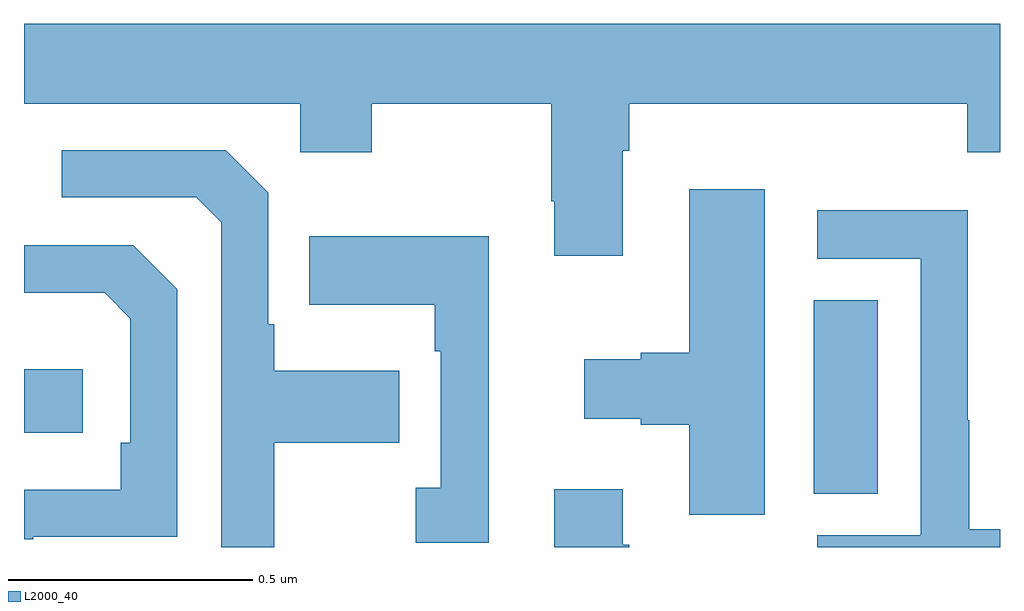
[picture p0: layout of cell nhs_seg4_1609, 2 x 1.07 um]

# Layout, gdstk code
import gdstk
lib = gdstk.Library(unit=1e-6, precision=1e-09)
def R(c, l, rs):  # rectangles x0, y0, x1, y1
    for r in rs: c.add(gdstk.rectangle(r[:2], r[2:], *l))
def P(c, l, *ps):  # polygons
    for p in ps: c.add(gdstk.Polygon(p, *l))
L2000_40 = (2000, 40)

nhs_seg4_1609 = lib.new_cell('nhs_seg4_1609')
R(nhs_seg4_1609, L2000_40, [(131.618,808.009,131.749,808.406), (130,808.134,130.12,808.264)])
P(nhs_seg4_1609, L2000_40, [(131.227,808.712),(131.24,808.712),(131.24,808.808),(131.933,808.808),(131.933,808.709),(132,808.709),(132,808.972),(130,808.972),(130,808.808),(130.566,808.808),(130.566,808.709),(130.713,808.709),(130.713,808.808),(131.08,808.808),(131.08,808.609),(131.087,808.609),(131.087,808.497),(131.227,808.497)],
  [(130.513,808.114),(130.769,808.114),(130.769,808.261),(130.513,808.261),(130.513,808.357),(130.5,808.357),(130.5,808.626),(130.413,808.713),(130.077,808.713),(130.077,808.617),(130.353,808.617),(130.404,808.566),(130.404,807.9),(130.513,807.9)],
  [(131.518,808.633),(131.363,808.633),(131.363,808.298),(131.264,808.298),(131.264,808.285),(131.148,808.285),(131.148,808.163),(131.264,808.163),(131.264,808.151),(131.363,808.151),(131.363,807.966),(131.518,807.966)],
  [(132,807.937),(131.937,807.937),(131.937,808.16),(131.934,808.16),(131.934,808.59),(131.625,808.59),(131.625,808.491),(131.838,808.491),(131.838,807.924),(131.625,807.924),(131.625,807.9),(132,807.9)],
  [(130.952,808.537),(130.585,808.537),(130.585,808.397),(130.842,808.397),(130.842,808.301),(130.854,808.301),(130.854,808.022),(130.803,808.022),(130.803,807.909),(130.952,807.909)],
  [(130.019,807.921),(130.314,807.921),(130.314,808.428),(130.224,808.518),(130,808.518),(130,808.421),(130.165,808.421),(130.218,808.368),(130.218,808.114),(130.198,808.114),(130.198,808.017),(130,808.017),(130,807.916),(130.019,807.916)],
  [(131.24,807.905),(131.227,807.905),(131.227,808.018),(131.087,808.018),(131.087,807.9),(131.24,807.9)])

lib.write_gds('nhs_seg4_1609.gds')
